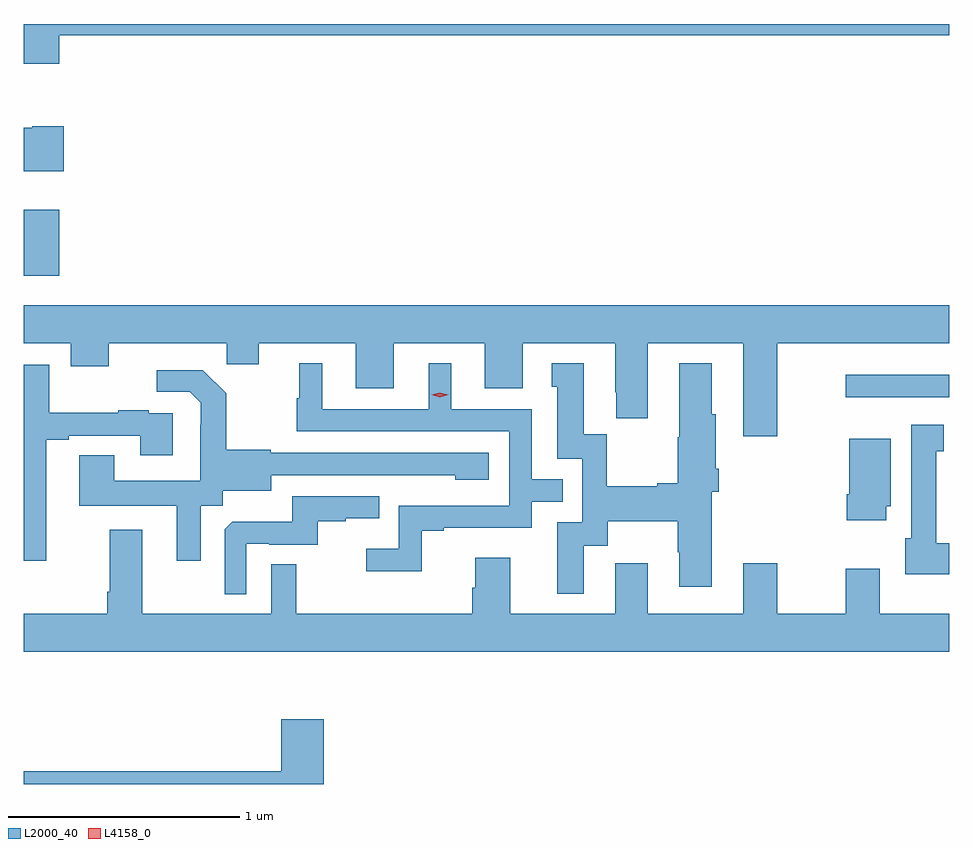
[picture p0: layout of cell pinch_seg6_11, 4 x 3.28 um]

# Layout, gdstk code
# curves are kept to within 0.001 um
import gdstk
lib = gdstk.Library(unit=1e-6, precision=1e-09)
def R(c, l, rs):  # rectangles x0, y0, x1, y1
    for r in rs: c.add(gdstk.rectangle(r[:2], r[2:], *l))
def P(c, l, *ps):  # polygons
    for p in ps: c.add(gdstk.Polygon(p, *l))
L2000_40 = (2000, 40)
L4158_0 = (4158, 0)

pinch_seg6_11 = lib.new_cell('pinch_seg6_11')
R(pinch_seg6_11, L2000_40, [(964.749,996.387,965.198,996.484)])
P(pinch_seg6_11, L2000_40, [(961.352,997.952),(965.198,997.952),(965.198,998),(961.198,998),(961.198,997.828),(961.352,997.828)],
  [(961.372,997.558),(961.236,997.558),(961.236,997.552),(961.198,997.552),(961.198,997.364),(961.372,997.364)],
  [(961.352,997.198),(961.198,997.198),(961.198,997.089),(961.199,997.089),(961.199,996.912),(961.352,996.912)],
  [(964.455,996.62),(965.198,996.62),(965.198,996.784),(961.198,996.784),(961.198,996.62),(961.403,996.62),(961.403,996.521),(961.567,996.521),(961.567,996.62),(962.077,996.62),(962.077,996.53),(962.215,996.53),(962.215,996.62),(962.633,996.62),(962.633,996.426),(962.797,996.426),(962.797,996.62),(963.191,996.62),(963.191,996.426),(963.355,996.426),(963.355,996.62),(963.755,996.62),(963.755,996.409),(963.758,996.409),(963.758,996.297),(963.895,996.297),(963.895,996.62),(964.307,996.62),(964.307,996.219),(964.455,996.219)],
  [(963.619,995.746),(963.721,995.746),(963.721,995.852),(964.024,995.852),(964.024,995.718),(964.031,995.718),(964.031,995.568),(964.171,995.568),(964.171,995.979),(964.202,995.979),(964.202,996.079),(964.189,996.079),(964.189,996.315),(964.171,996.315),(964.171,996.535),(964.031,996.535),(964.031,996.215),(964.024,996.215),(964.024,996.017),(963.935,996.017),(963.935,996.004),(963.717,996.004),(963.717,996.227),(963.619,996.227),(963.619,996.535),(963.479,996.535),(963.479,996.432),(963.503,996.432),(963.503,996.123),(963.612,996.123),(963.612,995.847),(963.503,995.847),(963.503,995.538),(963.619,995.538)],
  [(962.919,995.811),(963.013,995.811),(963.013,995.823),(963.393,995.823),(963.393,995.937),(963.527,995.937),(963.527,996.033),(963.393,996.033),(963.393,996.336),(963.046,996.336),(963.046,996.535),(962.948,996.535),(962.948,996.336),(962.488,996.336),(962.488,996.535),(962.39,996.535),(962.39,996.384),(962.379,996.384),(962.379,996.24),(963.297,996.24),(963.297,995.919),(962.82,995.919),(962.82,995.734),(962.679,995.734),(962.679,995.636),(962.919,995.636)],
  [(961.297,996.204),(961.393,996.204),(961.393,996.222),(961.703,996.222),(961.703,996.138),(961.843,996.138),(961.843,996.318),(961.739,996.318),(961.739,996.331),(961.607,996.331),(961.607,996.32),(961.309,996.32),(961.309,996.528),(961.198,996.528),(961.198,996.335),(961.2,996.335),(961.2,995.83),(961.198,995.83),(961.198,995.682),(961.297,995.682)],
  [(961.963,995.92),(962.058,995.92),(962.058,995.984),(962.269,995.984),(962.269,996.051),(963.063,996.05),(963.063,996.032),(963.208,996.032),(963.208,996.147),(962.265,996.147),(962.265,996.16),(962.073,996.16),(962.073,996.405),(961.973,996.505),(961.773,996.505),(961.773,996.411),(961.917,996.411),(961.964,996.364),(961.964,996.269),(961.962,996.269),(961.962,996.028),(961.591,996.028),(961.591,996.137),(961.439,996.137),(961.439,995.918),(961.859,995.918),(961.859,995.682),(961.963,995.682)],
  [(965.198,995.758),(965.14,995.758),(965.14,996.155),(965.173,996.155),(965.173,996.268),(965.033,996.268),(965.033,995.778),(965.006,995.778),(965.006,995.624),(965.198,995.624)],
  [(964.924,995.916),(964.945,995.916),(964.945,996.208),(964.766,996.208),(964.766,995.968),(964.754,995.968),(964.754,995.856),(964.924,995.856)],
  [(962.16,995.754),(962.26,995.754),(962.26,995.751),(962.468,995.751),(962.468,995.853),(962.591,995.853),(962.591,995.864),(962.735,995.864),(962.735,995.961),(962.358,995.961),(962.358,995.849),(962.099,995.849),(962.067,995.817),(962.067,995.537),(962.16,995.537)],
  [(965.198,995.452),(964.897,995.452),(964.897,995.647),(964.75,995.647),(964.75,995.452),(964.455,995.452),(964.455,995.671),(964.307,995.671),(964.307,995.452),(963.895,995.452),(963.895,995.671),(963.755,995.671),(963.755,995.452),(963.301,995.452),(963.301,995.695),(963.149,995.695),(963.149,995.565),(963.137,995.565),(963.137,995.452),(962.377,995.452),(962.377,995.666),(962.268,995.666),(962.268,995.452),(961.711,995.452),(961.711,995.815),(961.571,995.815),(961.571,995.548),(961.559,995.548),(961.559,995.452),(961.198,995.452),(961.198,995.288),(965.198,995.288)],
  [(962.495,994.996),(962.312,994.996),(962.312,994.772),(961.198,994.772),(961.198,994.717),(962.495,994.717)])
P(pinch_seg6_11, L4158_0, [(962.997,996.388),(962.961,996.398),(962.961,996.398),(962.961,996.398),(962.997,996.408),(963.032,996.398),(963.033,996.398),(963.032,996.398)])

lib.write_gds('pinch_seg6_11.gds')
